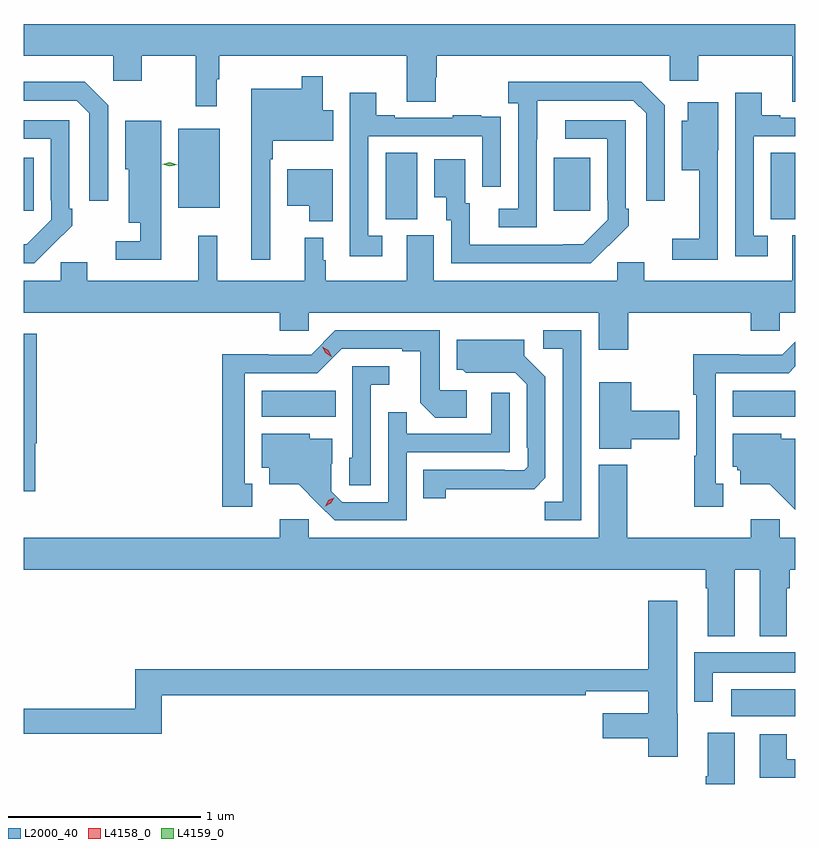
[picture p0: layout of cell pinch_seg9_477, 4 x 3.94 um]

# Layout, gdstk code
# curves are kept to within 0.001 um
import gdstk
lib = gdstk.Library(unit=1e-6, precision=1e-09)
def R(c, l, rs):  # rectangles x0, y0, x1, y1
    for r in rs: c.add(gdstk.rectangle(r[:2], r[2:], *l))
def P(c, l, *ps):  # polygons
    for p in ps: c.add(gdstk.Polygon(p, *l))
L2000_40 = (2000, 40)
L4158_0 = (4158, 0)
L4159_0 = (4159, 0)

pinch_seg9_477 = lib.new_cell('pinch_seg9_477')
R(pinch_seg9_477, L2000_40, [(294.762,1200.986,295.094,1201.126), (292.328,1202.54,292.712,1202.674), (294.77,1202.54,295.094,1202.674), (292.97,1203.565,293.134,1203.908), (294.968,1203.565,295.094,1203.908), (291.094,1203.609,291.145,1203.883), (293.843,1203.609,294.031,1203.883), (291.896,1203.623,292.111,1204.033)])
P(pinch_seg9_477, L2000_40, [(292.096,1204.289),(292.108,1204.289),(292.108,1204.412),(293.081,1204.412),(293.081,1204.174),(293.229,1204.174),(293.229,1204.299),(293.234,1204.299),(293.234,1204.412),(294.444,1204.412),(294.444,1204.281),(294.591,1204.281),(294.591,1204.412),(295.079,1204.412),(295.079,1204.174),(295.094,1204.174),(295.094,1204.576),(291.094,1204.576),(291.094,1204.412),(291.558,1204.412),(291.558,1204.281),(291.705,1204.281),(291.705,1204.412),(291.987,1204.412),(291.987,1204.149),(292.096,1204.149)],
  [(292.371,1203.875),(292.384,1203.875),(292.384,1203.971),(292.699,1203.971),(292.699,1204.129),(292.645,1204.129),(292.645,1204.306),(292.536,1204.306),(292.536,1204.24),(292.274,1204.24),(292.274,1203.354),(292.371,1203.354)],
  [(291.531,1204.155),(291.41,1204.276),(291.094,1204.276),(291.094,1204.179),(291.369,1204.179),(291.435,1204.113),(291.435,1203.66),(291.531,1203.66)],
  [(293.754,1203.979),(293.755,1204.179),(294.255,1204.179),(294.321,1204.113),(294.321,1203.66),(294.417,1203.66),(294.417,1204.155),(294.296,1204.276),(293.607,1204.276),(293.607,1204.166),(293.658,1204.166),(293.658,1203.618),(293.556,1203.618),(293.556,1203.522),(293.754,1203.522)],
  [(292.954,1203.477),(292.881,1203.477),(292.881,1203.993),(293.472,1203.993),(293.472,1203.732),(293.568,1203.732),(293.568,1203.986),(293.567,1203.986),(293.567,1204.095),(293.465,1204.095),(293.465,1204.102),(293.317,1204.102),(293.317,1204.089),(293.017,1204.089),(293.017,1204.102),(292.921,1204.102),(292.921,1204.219),(292.785,1204.219),(292.785,1203.372),(292.954,1203.372)],
  [(294.952,1203.477),(294.879,1203.477),(294.879,1203.993),(295.094,1203.993),(295.094,1204.089),(295.015,1204.089),(295.015,1204.102),(294.919,1204.102),(294.919,1204.219),(294.783,1204.219),(294.783,1203.372),(294.952,1203.372)],
  [(294.693,1203.922),(294.694,1203.922),(294.694,1204.171),(294.536,1204.171),(294.536,1204.075),(294.506,1204.075),(294.506,1203.818),(294.596,1203.818),(294.596,1203.463),(294.456,1203.463),(294.456,1203.354),(294.693,1203.354)],
  [(294.125,1203.427),(294.126,1203.426),(294.231,1203.531),(294.231,1203.619),(294.216,1203.619),(294.216,1204.077),(293.901,1204.077),(293.901,1203.981),(294.12,1203.981),(294.12,1203.661),(294.123,1203.661),(294.123,1203.561),(293.995,1203.433),(293.407,1203.432),(293.407,1203.648),(293.383,1203.648),(293.383,1203.874),(293.222,1203.874),(293.222,1203.677),(293.285,1203.677),(293.285,1203.558),(293.31,1203.558),(293.31,1203.336),(294.034,1203.336)],
  [(291.239,1203.427),(291.24,1203.426),(291.345,1203.531),(291.345,1203.619),(291.33,1203.619),(291.33,1204.077),(291.094,1204.077),(291.094,1203.981),(291.234,1203.981),(291.234,1203.661),(291.237,1203.661),(291.237,1203.561),(291.109,1203.433),(291.094,1203.433),(291.094,1203.336),(291.148,1203.336)],
  [(291.807,1203.627),(291.808,1203.627),(291.808,1204.075),(291.62,1204.075),(291.62,1203.822),(291.638,1203.822),(291.638,1203.545),(291.699,1203.545),(291.699,1203.45),(291.57,1203.45),(291.57,1203.354),(291.807,1203.354)],
  [(292.696,1203.823),(292.46,1203.823),(292.46,1203.635),(292.574,1203.635),(292.574,1203.554),(292.696,1203.554)],
  [(294.227,1203.08),(294.863,1203.08),(294.863,1202.987),(295.014,1202.987),(295.014,1203.08),(295.094,1203.08),(295.094,1203.48),(295.079,1203.48),(295.079,1203.244),(294.31,1203.244),(294.31,1203.342),(294.171,1203.342),(294.171,1203.244),(293.221,1203.244),(293.221,1203.48),(293.081,1203.48),(293.081,1203.244),(292.66,1203.244),(292.66,1203.351),(292.648,1203.351),(292.648,1203.469),(292.55,1203.469),(292.55,1203.244),(292.097,1203.244),(292.097,1203.478),(291.998,1203.478),(291.998,1203.244),(291.424,1203.244),(291.424,1203.342),(291.285,1203.342),(291.285,1203.244),(291.094,1203.244),(291.094,1203.08),(292.421,1203.08),(292.421,1202.987),(292.572,1202.987),(292.572,1203.08),(294.074,1203.08),(294.074,1202.886),(294.227,1202.886)],
  [(293.985,1202.988),(293.787,1202.988),(293.787,1202.892),(293.889,1202.892),(293.889,1202.099),(293.794,1202.099),(293.794,1202.004),(293.985,1202.004)],
  [(292.279,1202.193),(292.24,1202.193),(292.24,1202.766),(292.617,1202.766),(292.743,1202.892),(293.057,1202.892),(293.057,1202.88),(293.151,1202.88),(293.151,1202.612),(293.227,1202.536),(293.392,1202.536),(293.392,1202.676),(293.25,1202.676),(293.25,1202.988),(292.71,1202.988),(292.584,1202.862),(292.362,1202.862),(292.362,1202.864),(292.122,1202.864),(292.122,1202.073),(292.279,1202.073)],
  [(291.155,1202.402),(291.161,1202.402),(291.161,1202.97),(291.094,1202.97),(291.094,1202.154),(291.155,1202.154)],
  [(293.283,1202.164),(293.74,1202.165),(293.799,1202.224),(293.799,1202.746),(293.689,1202.856),(293.689,1202.938),(293.339,1202.938),(293.339,1202.784),(293.37,1202.784),(293.386,1202.768),(293.643,1202.769),(293.703,1202.709),(293.703,1202.38),(293.706,1202.38),(293.706,1202.28),(293.688,1202.262),(293.588,1202.262),(293.588,1202.265),(293.164,1202.265),(293.164,1202.118),(293.283,1202.118)],
  [(294.721,1202.193),(294.682,1202.193),(294.682,1202.766),(295.059,1202.766),(295.094,1202.801),(295.094,1202.93),(295.026,1202.862),(294.804,1202.862),(294.804,1202.864),(294.564,1202.864),(294.564,1202.653),(294.581,1202.653),(294.581,1202.339),(294.571,1202.339),(294.571,1202.073),(294.721,1202.073)],
  [(292.893,1202.705),(292.99,1202.705),(292.99,1202.802),(292.797,1202.802),(292.797,1202.328),(292.782,1202.328),(292.782,1202.185),(292.893,1202.185)],
  [(294.244,1202.423),(294.493,1202.423),(294.493,1202.57),(294.244,1202.57),(294.244,1202.719),(294.077,1202.719),(294.077,1202.375),(294.244,1202.375)],
  [(293.079,1202.355),(293.613,1202.355),(293.613,1202.665),(293.517,1202.665),(293.517,1202.451),(293.081,1202.451),(293.081,1202.564),(292.983,1202.564),(292.983,1202.097),(292.746,1202.097),(292.689,1202.154),(292.689,1202.296),(292.693,1202.296),(292.693,1202.425),(292.578,1202.425),(292.578,1202.452),(292.328,1202.452),(292.328,1202.276),(292.367,1202.276),(292.367,1202.189),(292.519,1202.189),(292.706,1202.004),(293.079,1202.004)],
  [(295.094,1202.425),(295.02,1202.425),(295.02,1202.452),(294.77,1202.452),(294.77,1202.28),(294.792,1202.28),(294.792,1202.262),(294.809,1202.262),(294.809,1202.189),(294.961,1202.189),(295.064,1202.087),(295.094,1202.057)],
  [(294.629,1201.652),(294.641,1201.652),(294.641,1201.403),(294.781,1201.403),(294.781,1201.748),(294.911,1201.748),(294.911,1201.403),(295.051,1201.403),(295.051,1201.652),(295.064,1201.652),(295.064,1201.748),(295.094,1201.748),(295.094,1201.912),(295.014,1201.912),(295.014,1202.008),(294.863,1202.008),(294.863,1201.912),(294.222,1201.912),(294.222,1202.29),(294.074,1202.29),(294.074,1201.912),(292.572,1201.912),(292.572,1202.008),(292.421,1202.008),(292.421,1201.912),(291.094,1201.912),(291.094,1201.748),(294.629,1201.748)],
  [(294.484,1200.999),(294.481,1200.999),(294.481,1201.585),(294.332,1201.585),(294.332,1201.232),(291.673,1201.232),(291.673,1201.025),(291.094,1201.025),(291.094,1200.897),(291.809,1200.897),(291.809,1201.096),(294.008,1201.096),(294.008,1201.116),(294.332,1201.116),(294.332,1201.003),(294.096,1201.003),(294.096,1200.874),(294.332,1200.874),(294.332,1200.776),(294.484,1200.776)],
  [(294.666,1201.214),(295.094,1201.214),(295.094,1201.318),(294.57,1201.318),(294.57,1201.062),(294.666,1201.062)],
  [(294.781,1200.901),(294.641,1200.901),(294.641,1200.676),(294.629,1200.676),(294.629,1200.636),(294.781,1200.636)],
  [(295.094,1200.765),(295.051,1200.765),(295.051,1200.895),(294.911,1200.895),(294.911,1200.669),(295.094,1200.669)])
P(pinch_seg9_477, L4158_0, [(292.656,1202.077),(292.656,1202.077),(292.674,1202.107),(292.705,1202.121),(292.705,1202.121),(292.705,1202.121),(292.687,1202.092),(292.657,1202.077)],
  [(292.689,1202.852),(292.658,1202.871),(292.641,1202.904),(292.641,1202.904),(292.641,1202.904),(292.672,1202.885),(292.69,1202.852),(292.69,1202.852)])
P(pinch_seg9_477, L4159_0, [(291.851,1203.838),(291.813,1203.848),(291.813,1203.848),(291.813,1203.848),(291.852,1203.858),(291.89,1203.847),(291.89,1203.847),(291.89,1203.847)])

lib.write_gds('pinch_seg9_477.gds')
